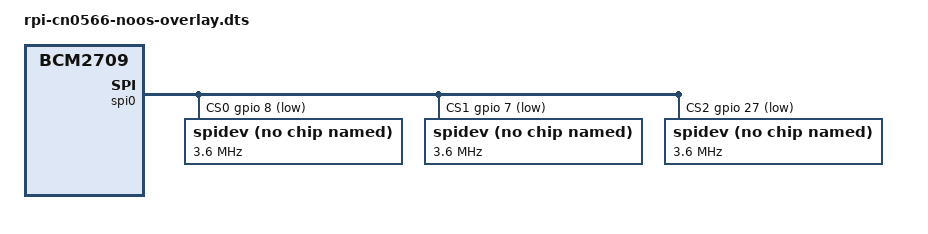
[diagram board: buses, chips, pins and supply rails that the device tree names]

// SPDX-License-Identifier: GPL-2.0
/*
 * CN0566 (ADALM-PHASER) device tree overlay for No-OS userspace access.
 *
 * Mirrors the hardware topology of rpi-cn0566-overlay.dts but uses spidev
 * compatible strings so devices remain accessible from userspace (No-OS)
 * instead of being claimed by kernel drivers.
 *
 * Usage:
 *   dtc -@ -I dts -O dtb -o rpi-cn0566-noos.dtbo rpi-cn0566-noos-overlay.dts
 *   sudo cp rpi-cn0566-noos.dtbo /boot/overlays/
 *   # Add to /boot/config.txt:  dtoverlay=rpi-cn0566-noos
 *   sudo reboot
 *
 * After reboot: /dev/spidev0.0 (ADAR1000 #0), spidev0.1 (ADAR1000 #1),
 *               spidev0.2 (ADF4159)
 */
/dts-v1/;
/plugin/;

/ {
	compatible = "brcm,bcm2836", "brcm,bcm2835", "brcm,bcm2709";

	/* SPI0 chip-select pin configuration: CE0=GPIO8, CE1=GPIO7, CE2=GPIO27 */
	fragment@0 {
		target = <&spi0_cs_pins>;
		__overlay__ {
			brcm,pins = <8 7 27>;
			brcm,function = <1>;
		};
	};

	/* SPI0 bus with three spidev devices matching CN0566 hardware */
	fragment@1 {
		target = <&spi0>;
		__overlay__ {
			#address-cells = <1>;
			#size-cells = <0>;
			cs-gpios = <&gpio 8 1>, <&gpio 7 1>, <&gpio 27 1>;
			status = "okay";

			/* CS0 = GPIO8 -> ADAR1000 beamformer #0 */
			spidev@0 {
				compatible = "spidev";
				reg = <0>;
				spi-max-frequency = <3600000>;
			};

			/* CS1 = GPIO7 -> ADAR1000 beamformer #1 */
			spidev@1 {
				compatible = "spidev";
				reg = <1>;
				spi-max-frequency = <3600000>;
			};

			/* CS2 = GPIO27 -> ADF4159 PLL synthesizer (LE) */
			spidev@2 {
				compatible = "spidev";
				reg = <2>;
				spi-max-frequency = <3600000>;
			};
		};
	};
};
